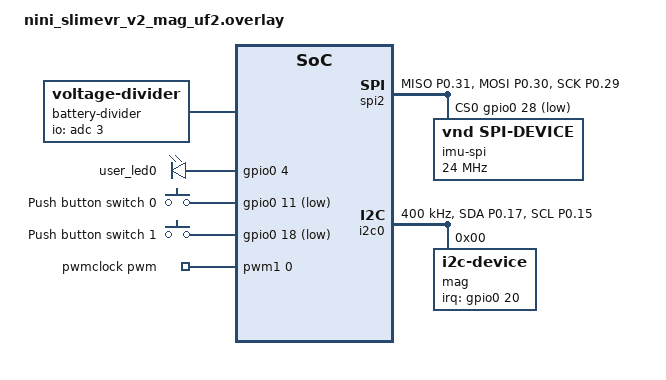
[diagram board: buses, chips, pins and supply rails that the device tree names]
/ {
	battery-divider {
		compatible = "voltage-divider";
		status = "okay";
		io-channels = <&adc 3>;
		output-ohms = <40200>;
		full-ohms = <(100000 + 40200)>;
	};

	leds {
		compatible = "gpio-leds";
		user_led0: led_0 {
			gpios = <&gpio0 4 GPIO_OPEN_SOURCE>;
		};
	};

	buttons {
		compatible = "gpio-keys";
		button0: button_0 {
			gpios = <&gpio0 11 (GPIO_PULL_UP | GPIO_ACTIVE_LOW)>;
			label = "Push button switch 0";
		};
		button1: button_1 {
			gpios = <&gpio0 18 (GPIO_PULL_UP | GPIO_ACTIVE_LOW)>;
			label = "Push button switch 1";
		};
	};

	pwmclock: pwmclock {
		compatible = "pwm-clock";
		#clock-cells = <1>;
		pwms = <&pwm1 0 PWM_HZ(32768) PWM_POLARITY_NORMAL>;
	};

	aliases {
		sw0 = &button0;
		sw1 = &button1;
		led0 = &user_led0;
		imu0 = &imu_spi;
	};
};

&pinctrl {
	spi2_default: spi2_default {
		group1 {
			psels = <NRF_PSEL(SPIM_MISO, 0, 31)>,
				<NRF_PSEL(SPIM_MOSI, 0, 30)>,
				<NRF_PSEL(SPIM_SCK,  0, 29)>;
			bias-disable;
		};
	};

	spi2_sleep: spi2_sleep {
		group1 {
			psels = <NRF_PSEL(SPIM_MISO, 0, 31)>,
				<NRF_PSEL(SPIM_MOSI, 0, 30)>,
				<NRF_PSEL(SPIM_SCK,  0, 29)>;
			low-power-enable;
		};
	};

	i2c0_default: i2c0_default {
		group1 {
			psels = <NRF_PSEL(TWIM_SDA, 0, 17)>,
				<NRF_PSEL(TWIM_SCL, 0, 15)>;
			bias-disable;
		};
	};

	i2c0_sleep: i2c0_sleep {
		group1 {
			psels = <NRF_PSEL(TWIM_SDA, 0, 17)>,
				<NRF_PSEL(TWIM_SCL, 0, 15)>;
			low-power-enable;
		};
	};
};

&spi2 {
	status = "okay";
	compatible = "nordic,nrf-spim";
	pinctrl-0 = <&spi2_default>;
	pinctrl-1 = <&spi2_sleep>;
	pinctrl-names = "default", "sleep";

	cs-gpios = <&gpio0 28 GPIO_ACTIVE_LOW>;

	imu_spi: imu@0 {
		compatible = "vnd,spi-device";
		reg = <0>;
		label = "imu-spi";
		spi-max-frequency = <DT_FREQ_M(24)>;
	};
};

&i2c0 {
	compatible = "nordic,nrf-twim";
	status = "okay";
	zephyr,concat-buf-size = <1023>;
	zephyr,flash-buf-max-size = <1023>;
	clock-frequency = <I2C_BITRATE_FAST>;
	pinctrl-0 = <&i2c0_default>;
	pinctrl-1 = <&i2c0_sleep>;
	pinctrl-names = "default", "sleep";

	mag: mag@0 {
		compatible = "i2c-device";
		label = "mag";
		reg = <0>;
		irq-gpios = <&gpio0 20 GPIO_ACTIVE_HIGH>;
	};
};

